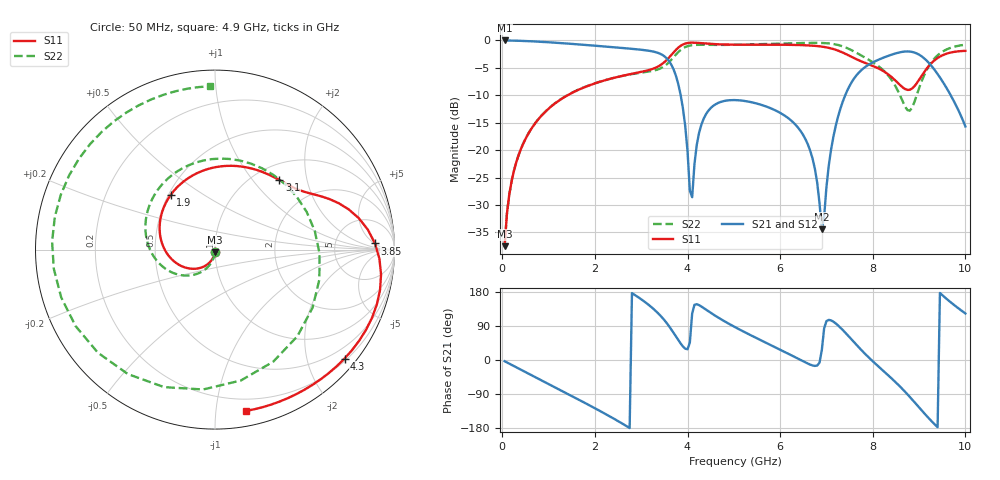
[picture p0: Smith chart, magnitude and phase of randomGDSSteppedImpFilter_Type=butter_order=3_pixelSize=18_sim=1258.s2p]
! freq	dB(S11)	phase(S11)	dB(S12)	phase(S12)
!  dB(S21)	phase(S21)	dB(S22)	phase(S22)
!S-par simulation data
#  GHz  S  DB  R 50
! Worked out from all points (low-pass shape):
!   200 points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, 50 MHz to 10 GHz, reference 50 ohm
!   highest |S21| = -0.01 dB at 50 MHz (marker M1); lowest = -34.5 dB at 6.9 GHz (marker M2)
!   |S21| within 3 dB of the highest: start of sweep to 3.516 GHz; 8.272 GHz to 9.072 GHz (800 MHz wide, 9.23 % of centre)
!   lowest |S11| = -37.5 dB at 50 MHz (marker M3), VSWR 1.03, Z = 50 - j1.33 ohm
!   |S11| at or under -10 dB: start of sweep to 1.41 GHz
!   |S22| runs from -37.5 to -0.5 dB; largest |S21 - S12| = 0
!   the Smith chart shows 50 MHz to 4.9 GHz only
!   S11 on the Smith chart (normalised r, x): 50 MHz: 1.00, -0.03; 1.9 GHz: 0.51, +0.37; 3.1 GHz: 1.28, +1.38; 3.85 GHz: 16, +5; 4.3 GHz: 0.25, -2.72; 4.9 GHz: 0.11, -1.20
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0.05  -37.50 -91.2  -0.01 -3.2  -0.01 -3.2  -37.48 -90.2
0.5  -17.98 -127.4  -0.11 -31.9  -0.11 -31.9  -17.95 -117.1
1.75  -8.62 140.1  -0.80 -111.1  -0.80 -111.1  -8.59 176.4
1.9  -8.13 129.0  -0.90 -120.8  -0.90 -120.8  -8.10 168.0
3.1  -5.55 47.3  -1.81 151.3  -1.81 151.3  -5.76 74.2
3.4  -4.58 33.2  -2.40 118.9  -2.40 118.9  -5.16 22.5
3.65  -2.65 20.5  -4.43 80.6  -4.43 80.6  -3.53 -46.5
3.85  -0.99 2.2  -9.88 43.9  -9.88 43.9  -1.76 -110.3
4.1  -0.41 -23.4  -28.58 122.9  -28.58 122.9  -0.87 -173.2
4.3  -0.51 -40.1  -15.32 141.0  -15.32 141.0  -0.80 153.0
4.9  -0.77 -79.3  -10.90 95.1  -10.90 95.1  -0.81 91.7
5.05  -0.78 -88.1  -10.88 85.2  -10.88 85.2  -0.79 80.4
5.9  -0.79 -139.2  -12.76 33.2  -12.76 33.2  -0.60 26.7
6.7  -0.96 156.3  -21.55 -14.4  -21.55 -14.4  -0.45 -17.7
6.9  -1.14 132.4  -34.46 26.4  -34.46 26.4  -0.47 -29.3
7.25  -1.86 75.1  -13.91 91.3  -13.91 91.3  -0.83 -51.2
7.55  -3.03 9.8  -7.53 53.1  -7.53 53.1  -1.82 -70.4
7.9  -4.32 -63.5  -4.49 8.2  -4.49 8.2  -3.47 -90.7
8.35  -6.30 -126.3  -2.77 -42.3  -2.77 -42.3  -6.56 -126.3
9  -7.17 -142.4  -2.60 -125.1  -2.60 -125.1  -8.72 55.3
9.55  -2.56 166.2  -8.06 165.9  -8.06 165.9  -1.84 -24.3
10  -1.91 113.0  -15.68 122.7  -15.68 122.7  -0.78 -56.1
